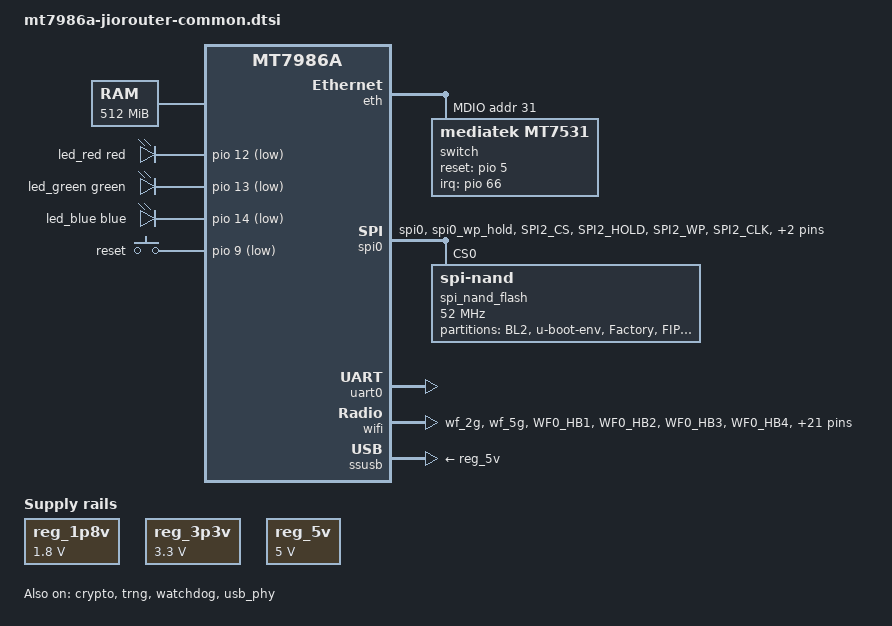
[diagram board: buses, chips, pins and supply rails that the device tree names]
// SPDX-License-Identifier: (GPL-2.0 OR MIT)

/dts-v1/;
#include <dt-bindings/input/input.h>
#include <dt-bindings/gpio/gpio.h>
#include <dt-bindings/leds/common.h>
#include <dt-bindings/pinctrl/mt65xx.h>

#include "mt7986a.dtsi"

/ {
	aliases {
		serial0 = &uart0;
		led-boot = &led_red;
		led-failsafe = &led_red;
		led-running = &led_red;
		led-upgrade = &led_blue;
	};

	chosen: chosen {
		stdout-path = "serial0:115200n8";
		bootargs = "dm-mod.create=''";
	};

	memory@40000000 {
		reg = <0 0x40000000 0 0x20000000>;
		device_type = "memory";
	};

	leds {
		compatible = "gpio-leds";

		led_red: led-0 {
			color = <LED_COLOR_ID_RED>;
			function = LED_FUNCTION_STATUS;
			gpios = <&pio 12 GPIO_ACTIVE_LOW>;
			default-state = "on";
		};

		led_green: led-1 {
			color = <LED_COLOR_ID_GREEN>;
			function = LED_FUNCTION_STATUS;
			gpios = <&pio 13 GPIO_ACTIVE_LOW>;
		};

		led_blue: led-2 {
			color = <LED_COLOR_ID_BLUE>;
			function = LED_FUNCTION_STATUS;
			gpios = <&pio 14 GPIO_ACTIVE_LOW>;
		};
	};

	keys {
		compatible = "gpio-keys";

		reset {
			label = "reset";
			gpios = <&pio 9 GPIO_ACTIVE_LOW>;
			linux,code = <KEY_RESTART>;
		};
	};

	reg_1p8v: regulator-1p8v {
		compatible = "regulator-fixed";
		regulator-name = "fixed-1.8V";
		regulator-min-microvolt = <1800000>;
		regulator-max-microvolt = <1800000>;
		regulator-boot-on;
		regulator-always-on;
	};

	reg_3p3v: regulator-3p3v {
		compatible = "regulator-fixed";
		regulator-name = "fixed-3.3V";
		regulator-min-microvolt = <3300000>;
		regulator-max-microvolt = <3300000>;
		regulator-boot-on;
		regulator-always-on;
	};

	reg_5v: regulator-5v {
		compatible = "regulator-fixed";
		regulator-name = "fixed-5V";
		regulator-min-microvolt = <5000000>;
		regulator-max-microvolt = <5000000>;
		regulator-boot-on;
		regulator-always-on;
	};

};

&crypto {
	status = "okay";
};

&eth {
	status = "okay";

	gmac0: mac@0 {
		compatible = "mediatek,eth-mac";
		reg = <0>;
		phy-mode = "2500base-x";

		nvmem-cells = <&macaddr_factory_4 (-1)>;
		nvmem-cell-names = "mac-address";

		fixed-link {
			speed = <2500>;
			full-duplex;
			pause;
		};
	};

	mdio: mdio-bus {
		#address-cells = <1>;
		#size-cells = <0>;
	};
};

&mdio {
	switch: switch@1f {
		compatible = "mediatek,mt7531";
		reg = <31>;
		reset-gpios = <&pio 5 GPIO_ACTIVE_HIGH>;
		interrupt-controller;
		#interrupt-cells = <1>;
		interrupt-parent = <&pio>;
		interrupts = <66 IRQ_TYPE_LEVEL_HIGH>;
	};
};

&pio {
	spi_flash_pins: spi-flash-pins-33-to-38 {
		mux {
			function = "spi";
			groups = "spi0", "spi0_wp_hold";
		};
		conf-pu {
			pins = "SPI2_CS", "SPI2_HOLD", "SPI2_WP";
			drive-strength = <MTK_DRIVE_8mA>;
			bias-disable; /* bias-disable */
		};
		conf-pd {
			pins = "SPI2_CLK", "SPI2_MOSI", "SPI2_MISO";
			drive-strength = <MTK_DRIVE_8mA>;
			bias-disable; /* bias-disable */
		};
	};

	wf_2g_5g_pins: wf_2g_5g-pins {
		mux {
			function = "wifi";
			groups = "wf_2g", "wf_5g";
		};
		conf {
			pins = "WF0_HB1", "WF0_HB2", "WF0_HB3", "WF0_HB4",
			       "WF0_HB0", "WF0_HB0_B", "WF0_HB5", "WF0_HB6",
			       "WF0_HB7", "WF0_HB8", "WF0_HB9", "WF0_HB10",
			       "WF0_TOP_CLK", "WF0_TOP_DATA", "WF1_HB1",
			       "WF1_HB2", "WF1_HB3", "WF1_HB4", "WF1_HB0",
			       "WF1_HB5", "WF1_HB6", "WF1_HB7", "WF1_HB8",
			       "WF1_TOP_CLK", "WF1_TOP_DATA";
			drive-strength = <MTK_DRIVE_4mA>;
		};
	};

	wf_dbdc_pins: wf_dbdc-pins {
		mux {
			function = "wifi";
			groups = "wf_dbdc";
		};
		conf {
			pins = "WF0_HB1", "WF0_HB2", "WF0_HB3", "WF0_HB4",
			"WF0_HB0", "WF0_HB0_B", "WF0_HB5", "WF0_HB6",
			"WF0_HB7", "WF0_HB8", "WF0_HB9", "WF0_HB10",
			"WF0_TOP_CLK", "WF0_TOP_DATA", "WF1_HB1",
			"WF1_HB2", "WF1_HB3", "WF1_HB4", "WF1_HB0",
			"WF1_HB5", "WF1_HB6", "WF1_HB7", "WF1_HB8",
			"WF1_TOP_CLK", "WF1_TOP_DATA";
			drive-strength = <MTK_DRIVE_4mA>;
		};
	};
};

&spi0 {
	pinctrl-names = "default";
	pinctrl-0 = <&spi_flash_pins>;
	status = "okay";

	spi_nand_flash: flash@0 {
		compatible = "spi-nand";
		reg = <0>;
		#address-cells = <1>;
		#size-cells = <1>;
		spi-max-frequency = <52000000>;
		spi-tx-bus-width = <4>;
		spi-rx-bus-width = <4>;
		mediatek,nmbm;
		mediatek,bmt-max-ratio = <1>;
		mediatek,bmt-max-reserved-blocks = <64>;

		partitions: partitions {
			compatible = "fixed-partitions";
			#address-cells = <1>;
			#size-cells = <1>;

			partition@0 {
				label = "BL2";
				reg = <0x0 0x100000>;
				read-only;
			};

			partition@100000 {
				label = "u-boot-env";
				reg = <0x100000 0x80000>;
			};

			factory: partition@180000 {
				label = "Factory";
				reg = <0x180000 0x200000>;
				read-only;

				nvmem-layout {
					compatible = "fixed-layout";
					#address-cells = <1>;
					#size-cells = <1>;

					eeprom_factory_0: eeprom@0 {
						reg = <0x0 0x1000>;
					};

					macaddr_factory_4: macaddr@4 {
						compatible = "mac-base";
						reg = <0x4 0x6>;
						#nvmem-cell-cells = <1>;
					};
				};
			};

			partition@380000 {
				label = "FIP";
				reg = <0x380000 0x200000>;
				read-only;
			};

			partition@580000 {
				label = "ubi";
				reg = <0x580000 0x8c00000>;
			};

			partition@9180000 {
				label = "ubi2";
				reg = <0x9180000 0x5a00000>;
			};

			partition@eb80000 {
				label = "MFG";
				reg = <0xeb80000 0x200000>;
			};

			partition@ed80000 {
				label = "Reserved";
				reg = <0xed80000 0x200000>;
			};
		};
	};
};

&trng {
	status = "okay";
};

&uart0 {
	status = "okay";
};

&watchdog {
	status = "okay";
};

&wifi {
	nvmem-cells = <&eeprom_factory_0>;
	nvmem-cell-names = "eeprom";
	pinctrl-names = "default", "dbdc";
	pinctrl-0 = <&wf_2g_5g_pins>;
	pinctrl-1 = <&wf_dbdc_pins>;
	status = "okay";
};

&ssusb {
	vusb33-supply = <&reg_3p3v>;
	vbus-supply = <&reg_5v>;
	status = "okay";
};

&usb_phy {
	status = "okay";
};
